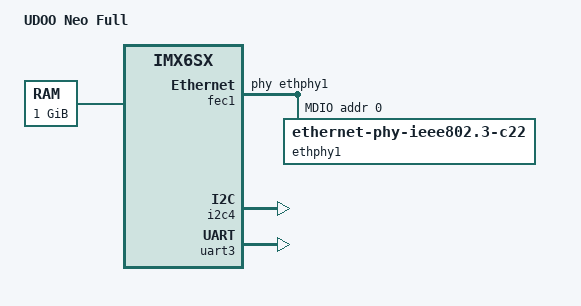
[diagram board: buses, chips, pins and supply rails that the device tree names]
/dts-v1/;
#include "imx6sx-udoo-neo.dtsi"
/ {
	model = "UDOO Neo Full";
	compatible = "udoo,neofull", "fsl,imx6sx";
	memory@80000000 {
		device_type = "memory";
		reg = <0x80000000 0x40000000>;
	};
};
&fec1 {
	phy-handle = <&ethphy1>;
	status = "okay";
	mdio {
		#address-cells = <1>;
		#size-cells = <0>;
		ethphy1: ethernet-phy@0 {
			compatible = "ethernet-phy-ieee802.3-c22";
			reg = <0>;
		};
	};
};
&i2c4 {  
	status = "okay";
};
&uart3 {  
	status = "okay";
};
